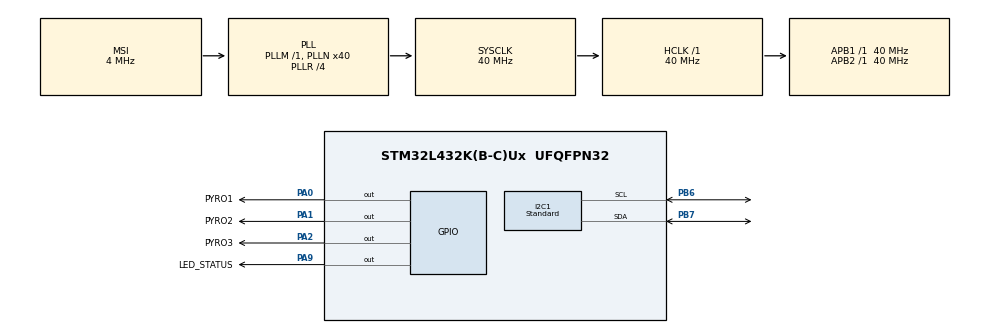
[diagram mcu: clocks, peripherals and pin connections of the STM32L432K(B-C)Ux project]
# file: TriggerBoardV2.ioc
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I2C1.GeneralCallMode=I2C_GENERALCALL_ENABLE
I2C1.I2C_Speed_Mode=I2C_Standard
I2C1.NoStretchMode=I2C_NOSTRETCH_ENABLE
I2C1.OwnAddress=0x0A
I2C1.Timing=0x00D09BE3
Mcu.Family=STM32L4
Mcu.Name=STM32L432K(B-C)Ux
Mcu.Package=UFQFPN32
NVIC.I2C1_ER_IRQn=true\:0\:0\:false\:false\:true\:true\:true\:true
NVIC.I2C1_EV_IRQn=true\:0\:0\:false\:false\:true\:true\:true\:true
NVIC.PriorityGroup=NVIC_PRIORITYGROUP_4
PA0.GPIO_Label=PYRO1
PA0.GPIO_PuPd=GPIO_PULLDOWN
PA0.Signal=GPIO_Output
PA1.GPIO_Label=PYRO2
PA1.GPIO_PuPd=GPIO_PULLDOWN
PA1.Signal=GPIO_Output
PA13\ (JTMS-SWDIO).Mode=Serial_Wire
PA13\ (JTMS-SWDIO).Signal=SYS_JTMS-SWDIO
PA14\ (JTCK-SWCLK).Mode=Serial_Wire
PA14\ (JTCK-SWCLK).Signal=SYS_JTCK-SWCLK
PA2.GPIO_Label=PYRO3
PA2.GPIO_PuPd=GPIO_PULLDOWN
PA2.Signal=GPIO_Output
PA9.GPIO_Label=LED_STATUS
PA9.Signal=GPIO_Output
PB6.GPIO_Pu=GPIO_NOPULL
PB6.Mode=I2C
PB6.Signal=I2C1_SCL
PB7.GPIO_Pu=GPIO_NOPULL
PB7.Mode=I2C
PB7.Signal=I2C1_SDA
ProjectManager.HeapSize=0x200
ProjectManager.StackSize=0x400
ProjectManager.TargetToolchain=STM32CubeIDE
RCC.ADCFreq_Value=48000000
RCC.AHBFreq_Value=40000000
RCC.APB1Freq_Value=40000000
RCC.APB1TimFreq_Value=40000000
RCC.APB2Freq_Value=40000000
RCC.APB2TimFreq_Value=40000000
RCC.CortexFreq_Value=40000000
RCC.HCLKFreq_Value=40000000
RCC.HSE_VALUE=8000000
RCC.HSI48_VALUE=48000000
RCC.HSI_VALUE=16000000
RCC.LSE_VALUE=32768
RCC.MSI_VALUE=4000000
RCC.PLLN=40
RCC.PLLR=RCC_PLLR_DIV4
RCC.PLLSAI1N=24
RCC.SYSCLKFreq_VALUE=40000000
RCC.SYSCLKSource=RCC_SYSCLKSOURCE_PLLCLK
RCC.USBFreq_Value=48000000
RCC.VCOOutputFreq_Value=160000000
board=custom

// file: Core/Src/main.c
/* USER CODE BEGIN Header */
/**
  ******************************************************************************
  * @file           : main.c
  * @brief          : Avionics Trigger Board, project Firehorn, EPFL Rocket Team
  * @author			: Cyprien Lacassagne
  * @version		: 0.1.0
  * @date			: 2025.03.11
  ******************************************************************************
  * @attention
  *
  * Copyright (c) 2025 STMicroelectronics.
  * All rights reserved.
  *
  * This software is licensed under terms that can be found in the LICENSE file
  * in the root directory of this software component.
  * If no LICENSE file comes with this software, it is provided AS-IS.
  *
  ******************************************************************************
  */
/* USER CODE END Header */
#include "main.h"

/* USER CODE BEGIN Includes */
#include "intranet_commands.h"
#include "string.h"
//#include "usbd_cdc_if.h"
//#include "serial_print.h"
/* USER CODE END Includes */

/* USER CODE BEGIN PD */
#define SLEEP_MODE_EN	1
#define PYRO_TESTING_EN	0

#if (VCP_ENABLE)
#define VCP_SERIAL_DB	0
#endif

#define PYRO_ON_MIN_FOR_TRIGGER 250
/* USER CODE END PD */

I2C_HandleTypeDef hi2c1;

/* USER CODE BEGIN PV */
// I2C registers and variables
static uint32_t mem[TRB_NB_REG];
static uint8_t reg_addr = 0x00;
static uint8_t rx_bytes_count = 0;
static uint8_t rx_buffer[NET_XFER_SIZE];
static uint8_t tx_buffer[NET_XFER_SIZE + 1];

static uint8_t woken_up = 0;
static uint8_t triggered = 0;
static uint32_t tx_count = 0;
/* USER CODE END PV */

void SystemClock_Config(void);
static void MX_GPIO_Init(void);
static void MX_I2C1_Init(void);
/* USER CODE BEGIN PFP */
void process_rx_data(void);
/* USER CODE END PFP */

/* USER CODE BEGIN 0 */

// Enter SLEEP mode. SleepOnExit keeps the MCU in SLEEP only to process interrupts (I2C, etc)
// Wake up to RUN mode is done when the command WAKE_UP from Master is received.
void enter_sleep_mode(void) {
	HAL_SuspendTick();
	HAL_PWR_EnableSleepOnExit();
	HAL_PWR_EnterSLEEPMode(PWR_MAINREGULATOR_ON, PWR_SLEEPENTRY_WFI);
}

void HAL_I2C_ListenCpltCallback(I2C_HandleTypeDef* hi2c) {
	rx_bytes_count = 0;
	HAL_I2C_EnableListen_IT(hi2c);
}

// Called when detecting TRB address match on I2C bus
// Will temporarily wake up the CPU during sleep mode
void HAL_I2C_AddrCallback(I2C_HandleTypeDef* hi2c, uint8_t TransferDirection, uint16_t AddrMatchCode) {
	rx_bytes_count = 0;
	if (TransferDirection == I2C_DIRECTION_TRANSMIT) {
#if (VCP_SERIAL_DB)
		serial_println("===New I2C request===");
		serial_print("Register: 0x");
		serial_println_n(reg_addr, 16);
#endif
		HAL_I2C_Slave_Seq_Receive_IT(hi2c, &reg_addr, 1, I2C_FIRST_FRAME);
	}else {
		// Transmit data from requested register
#if (VCP_SERIAL_DB)
		serial_print("Transmitting data: ");
		serial_println_n(mem[reg_addr], 10);
#endif
		// WORKAROUND FOR BUG WHEN TX FAILS IF 1ST DATA BYTE MSB IS SET (VALS BW 128-255, ETC.)
		// Sending a 5th dummy byte first acts as a "damper", solves the problem.
		memcpy(&tx_buffer[1], &mem[reg_addr], NET_XFER_SIZE);
		tx_buffer[0] = 0;
		HAL_I2C_Slave_Seq_Transmit_IT(hi2c, tx_buffer, NET_XFER_SIZE + 1, I2C_LAST_FRAME);
	}
}

void HAL_I2C_SlaveRxCpltCallback(I2C_HandleTypeDef* hi2c) {
	// First time this callback is called is after receiving the register address

	// If received 4 bytes of data, store it in memory and exit callback
	if (rx_bytes_count >= NET_XFER_SIZE) {
		process_rx_data();
		rx_bytes_count = 0;
		return;
	}

	// Prevent writing to read-only registers
	if (reg_addr != TRB_IS_WOKEN_UP && reg_addr != TRB_HAS_TRIGGERED) {
		HAL_I2C_Slave_Seq_Receive_IT(hi2c, (uint8_t*)&rx_buffer, NET_XFER_SIZE, I2C_LAST_FRAME);
		rx_bytes_count = NET_XFER_SIZE;
	}
}

void HAL_I2C_SlaveTxCpltCallback(I2C_HandleTypeDef* hi2c) {
	++tx_count;
}

void HAL_I2C_ErrorCallback(I2C_HandleTypeDef* hi2c) {
	rx_bytes_count = 0;

	uint32_t code = HAL_I2C_GetError(hi2c);

	if (code == HAL_I2C_ERROR_AF) {
		__HAL_I2C_CLEAR_FLAG(hi2c, I2C_FLAG_AF);
	}

	if (code == HAL_I2C_ERROR_BERR) {
		HAL_I2C_DeInit(hi2c);
		HAL_I2C_Init(hi2c);
	}

	HAL_I2C_EnableListen_IT(hi2c);
}

void process_rx_data(void) {
	mem[reg_addr] = 0;
	for (uint8_t i = 0; i < NET_XFER_SIZE; ++i) {
		mem[reg_addr] += rx_buffer[i] << (8*i);
	}

#if (VCP_SERIAL_DB)
	serial_print("Received data: ");
	serial_println_n(mem[reg_addr], 10);
#endif

	// If the received packet is WAKEUP command, disable SleepOnExit to stay in RUN mode
	if (reg_addr == TRB_WAKE_UP && mem[reg_addr] == NET_CMD_ON && !woken_up) {
		HAL_ResumeTick();
		HAL_PWR_DisableSleepOnExit();
		woken_up = 1;
		mem[TRB_IS_WOKEN_UP] = NET_CMD_ON;
#if (VCP_SERIAL_DB)
		serial_println("Received WAKE_UP command. SLEEP mode disabled, entered RUN mode.");
#endif
	}
}

static void blink_led(const uint32_t delta_ms) {
	static uint8_t is_led_on = 0;
	static uint8_t first_pulse = 0;
	static uint32_t led_on_ms = 0;
	static uint32_t led_off_ms = 0;

	is_led_on = HAL_GPIO_ReadPin(LED_STATUS_GPIO_Port, LED_STATUS_Pin) == GPIO_PIN_SET;
	if (is_led_on) {
		led_on_ms += delta_ms;
	}else {
		led_off_ms += delta_ms;
	}

	if (mem[TRB_HAS_TRIGGERED] == NET_CMD_ON) {
		if (led_on_ms > 50) {
			HAL_GPIO_WritePin(LED_STATUS_GPIO_Port, LED_STATUS_Pin, GPIO_PIN_RESET);
			led_on_ms = 0;
		}else if (led_off_ms > (first_pulse ? 50 : 850)) {
			HAL_GPIO_WritePin(LED_STATUS_GPIO_Port, LED_STATUS_Pin, GPIO_PIN_SET);
			led_off_ms = 0;
			first_pulse = !first_pulse;
		}
	}else if (mem[TRB_CLEAR_TO_TRIGGER] == NET_CMD_ON) {
		if (led_on_ms > 50) {
			HAL_GPIO_WritePin(LED_STATUS_GPIO_Port, LED_STATUS_Pin, GPIO_PIN_RESET);
			led_on_ms = 0;
		}else if (led_off_ms > 450) {
			HAL_GPIO_WritePin(LED_STATUS_GPIO_Port, LED_STATUS_Pin, GPIO_PIN_SET);
			led_off_ms = 0;
		}
	}else {
		if (led_on_ms > 50) {
			HAL_GPIO_WritePin(LED_STATUS_GPIO_Port, LED_STATUS_Pin, GPIO_PIN_RESET);
			led_on_ms = 0;
		}else if (led_off_ms > 950) {
			HAL_GPIO_WritePin(LED_STATUS_GPIO_Port, LED_STATUS_Pin, GPIO_PIN_SET);
			led_off_ms = 0;
		}
	}
}

static void listen_pyros(uint32_t delta_ms) {
	static uint32_t pyro1_ms = 0;
	static uint32_t pyro2_ms = 0;
	static uint32_t pyro3_ms = 0;

//	if (triggered) {
//		HAL_GPIO_WritePin(PYRO1_GPIO_Port, PYRO1_Pin, GPIO_PIN_RESET);
//		HAL_GPIO_WritePin(PYRO2_GPIO_Port, PYRO2_Pin, GPIO_PIN_RESET);
//		HAL_GPIO_WritePin(PYRO3_GPIO_Port, PYRO3_Pin, GPIO_PIN_RESET);
//		return;
//	}

	if ((mem[TRB_PYROS] & TRB_PYRO1) == NET_CMD_ON) {
		HAL_GPIO_WritePin(PYRO1_GPIO_Port, PYRO1_Pin, GPIO_PIN_SET);
		pyro1_ms += delta_ms;
	}else {
		HAL_GPIO_WritePin(PYRO1_GPIO_Port, PYRO1_Pin, GPIO_PIN_RESET);
		pyro1_ms = 0;
	}

	if (((mem[TRB_PYROS] & TRB_PYRO2) >> 8) == NET_CMD_ON) {
		HAL_GPIO_WritePin(PYRO2_GPIO_Port, PYRO2_Pin, GPIO_PIN_SET);
		pyro2_ms += delta_ms;
	}else {
		HAL_GPIO_WritePin(PYRO2_GPIO_Port, PYRO2_Pin, GPIO_PIN_RESET);
		pyro2_ms = 0;
	}

	if (((mem[TRB_PYROS] & TRB_PYRO3) >> 16) == NET_CMD_ON) {
		HAL_GPIO_WritePin(PYRO3_GPIO_Port, PYRO3_Pin, GPIO_PIN_SET);
		pyro3_ms += delta_ms;
	}else {
		HAL_GPIO_WritePin(PYRO3_GPIO_Port, PYRO3_Pin, GPIO_PIN_RESET);
		pyro3_ms = 0;
	}

	if (pyro1_ms > PYRO_ON_MIN_FOR_TRIGGER || pyro2_ms > PYRO_ON_MIN_FOR_TRIGGER
			|| pyro3_ms > PYRO_ON_MIN_FOR_TRIGGER) {
		triggered = 1;
		mem[TRB_HAS_TRIGGERED] = NET_CMD_ON;
	}
}

#if (PYRO_TESTING_EN)
typedef enum {
	PYRO1_ONLY,
	PYRO2_ONLY,
	PYRO3_ONLY,
	PYRO12_SIMULTANEOUS,
	PYRO13_SIMULTANEOUS,
	PYRO23_SIMULTANEOUS,
	ALL_SIMULTANEOUS,
	ALL_DELAYED
} pyro_testing_mode_t;

void pyro_test(pyro_testing_mode_t mode, uint32_t elapsed_ms) {
	static uint8_t fired_pyro1 = 0;
	static uint8_t fired_pyro2 = 0;
	static uint8_t fired_pyro3 = 0;
	const uint32_t delay = 20e3;
	// Pyro test, 15s delay after power on

	switch (mode) {
	case PYRO1_ONLY:
//		if (elapsed_ms >= delay && !triggered) {
//			mem[TRB_PYROS] = NET_CMD_ON;
//		}else {
//			mem[TRB_PYROS] = NET_CMD_OFF;
//		}
		break;
	case PYRO2_ONLY:
		if (elapsed_ms >= delay && !triggered) {
			mem[TRB_PYROS] = NET_CMD_ON << 8;
		}else {
			mem[TRB_PYROS] = NET_CMD_OFF << 8;
		}
		break;
	case PYRO3_ONLY:
		if (elapsed_ms >= delay && !triggered) {
			mem[TRB_PYROS] = NET_CMD_ON << 16;
		}else {
			mem[TRB_PYROS] = NET_CMD_OFF << 16;
		}
		break;
	case PYRO12_SIMULTANEOUS:
//		if (elapsed_ms >= delay && !triggered) {
//			mem[TRB_PYROS] = NET_CMD_ON | (NET_CMD_ON << 8);
//		}
//		if (elapsed_ms >= delay + PYRO_ON_MIN_FOR_TRIGGER) {
//			mem[TRB_PYROS] = NET_CMD_OFF | (NET_CMD_OFF << 8);
//		}
		break;
	case PYRO13_SIMULTANEOUS:
//		if (elapsed_ms >= delay && !triggered) {
//			mem[TRB_PYROS] = NET_CMD_ON | (NET_CMD_ON << 16);
//		}
//		if (elapsed_ms >= delay + PYRO_ON_MIN_FOR_TRIGGER) {
//			mem[TRB_PYROS] = NET_CMD_OFF | (NET_CMD_OFF << 16);
//		}
		break;
	case PYRO23_SIMULTANEOUS:
		if (elapsed_ms >= delay && !triggered) {
			mem[TRB_PYROS] = (NET_CMD_ON << 8) | (NET_CMD_ON << 16);
			}
		if (elapsed_ms >= delay + PYRO_ON_MIN_FOR_TRIGGER) {
			mem[TRB_PYROS] = (NET_CMD_OFF << 8) | (NET_CMD_OFF << 16);
		}
		break;
	case ALL_SIMULTANEOUS:
//		if (elapsed_ms >= delay && !triggered) {
//			mem[TRB_PYROS] = NET_CMD_ON | (NET_CMD_ON << 8) | (NET_CMD_ON << 16);
//		}
//		if (elapsed_ms >= delay + PYRO_ON_MIN_FOR_TRIGGER) {
//			mem[TRB_PYROS] = NET_CMD_OFF | (NET_CMD_OFF << 8) | (NET_CMD_OFF << 16);
//		}
		break;
	case ALL_DELAYED:
//		if (now_ms >= delay && !fired_pyro1) {
//			mem[TRB_PYROS] = NET_CMD_ON;
//		}
//		if (elapsed_ms >= delay + PYRO_ON_MIN_FOR_TRIGGER && !fired_pyro2) {
//			mem[TRB_PYROS] = NET_CMD_OFF | (NET_CMD_ON << 8);
//			fired_pyro1 = 1;
//		}
//		if (elapsed_ms >= delay + PYRO_ON_MIN_FOR_TRIGGER * 2 && !fired_pyro3) {
//			mem[TRB_PYROS] = (NET_CMD_OFF << 8) | (NET_CMD_ON << 16);
//			fired_pyro2 = 1;
//		}
//		if (elapsed_ms >= delay + PYRO_ON_MIN_FOR_TRIGGER * 3) {
//			mem[TRB_PYROS] = NET_CMD_OFF | (NET_CMD_OFF << 8) | (NET_CMD_OFF << 16);
//		}
		break;
	}
}
#endif /* PYRO_TESTING_EN */

/* USER CODE END 0 */

int main(void)
{

  /* MCU Configuration--------------------------------------------------------*/

  /* Reset of all peripherals, Initializes the Flash interface and the Systick. */
  HAL_Init();

  /* Configure the system clock */
  SystemClock_Config();

  /* Initialize all configured peripherals */
  MX_GPIO_Init();
  MX_I2C1_Init();
  /* USER CODE BEGIN 2 */
	// Initialize VCP (Virtual COM Port) for serial communication over USB
#if (VCP_ENABLE)
	vcp_init();
#endif

	// Enable I2C address callback and independent processing of R/W
	if (HAL_I2C_EnableListen_IT(&hi2c1) != HAL_OK) {
		Error_Handler();
	}

	// Reset all GPIOs
	HAL_GPIO_WritePin(LED_STATUS_GPIO_Port, LED_STATUS_Pin, GPIO_PIN_RESET);
	HAL_GPIO_WritePin(PYRO1_GPIO_Port, PYRO1_Pin, GPIO_PIN_RESET);
	HAL_GPIO_WritePin(PYRO2_GPIO_Port, PYRO2_Pin, GPIO_PIN_RESET);
	HAL_GPIO_WritePin(PYRO3_GPIO_Port, PYRO3_Pin, GPIO_PIN_RESET);

	// Enter SLEEP mode. SleepOnExit keeps the MCU in SLEEP only to process interrupts (I2C, etc)
	// Wake up to RUN mode is done when the command WAKE_UP from Master is received.
#if (SLEEP_MODE_EN)
	enter_sleep_mode();
#endif
  /* USER CODE END 2 */

  /* Infinite loop */
  /* USER CODE BEGIN WHILE */
#if (VCP_ENABLE)
	char echo_buffer[APP_RX_DATA_SIZE];
#endif
	mem[TRB_IS_WOKEN_UP] = NET_CMD_ON;
	woken_up = 1;
#if (PYRO_TESTING_EN)
	mem[TRB_CLEAR_TO_TRIGGER] = NET_CMD_ON;
#endif
	uint32_t now_ms = HAL_GetTick();
	while (1)
	{
		static uint32_t old_ms = 0;
		static uint32_t delta_ms = 0;

		old_ms = now_ms;
		now_ms = HAL_GetTick();
		delta_ms = now_ms - old_ms;

#if (PYRO_TESTING_EN)
		pyro_test(PYRO23_SIMULTANEOUS, now_ms);
#endif

		if (mem[TRB_CLEAR_TO_TRIGGER] == NET_CMD_ON) {
			listen_pyros(delta_ms);
		}

		blink_led(delta_ms);

		// If the received packet is WAKEUP with value NET_CMD_OFF, (re)-enter SLEEP mode
		if (reg_addr == TRB_WAKE_UP && mem[reg_addr] == NET_CMD_OFF && woken_up) {
			woken_up = 0;
			mem[TRB_IS_WOKEN_UP] = NET_CMD_OFF;
			HAL_I2C_ListenCpltCallback(&hi2c1);
			enter_sleep_mode();
		}

		// Echo data received on VCP back to the host
#if (VCP_ENABLE)
		int len = vcp_recv(echo_buffer, APP_RX_DATA_SIZE);
		if (len > 0) {
			vcp_send(echo_buffer, len);
		}
#endif

		HAL_Delay(10);
    /* USER CODE END WHILE */

	}
}

void SystemClock_Config(void)
{
  RCC_OscInitTypeDef RCC_OscInitStruct = {0};
  RCC_ClkInitTypeDef RCC_ClkInitStruct = {0};

  /** Configure the main internal regulator output voltage
  */
  if (HAL_PWREx_ControlVoltageScaling(PWR_REGULATOR_VOLTAGE_SCALE1) != HAL_OK)
  {
    Error_Handler();
  }

  /** Initializes the RCC Oscillators according to the specified parameters
  * in the RCC_OscInitTypeDef structure.
  */
  RCC_OscInitStruct.OscillatorType = RCC_OSCILLATORTYPE_MSI;
  RCC_OscInitStruct.MSIState = RCC_MSI_ON;
  RCC_OscInitStruct.MSICalibrationValue = 0;
  RCC_OscInitStruct.MSIClockRange = RCC_MSIRANGE_6;
  RCC_OscInitStruct.PLL.PLLState = RCC_PLL_ON;
  RCC_OscInitStruct.PLL.PLLSource = RCC_PLLSOURCE_MSI;
  RCC_OscInitStruct.PLL.PLLM = 1;
  RCC_OscInitStruct.PLL.PLLN = 40;
  RCC_OscInitStruct.PLL.PLLP = RCC_PLLP_DIV7;
  RCC_OscInitStruct.PLL.PLLQ = RCC_PLLQ_DIV2;
  RCC_OscInitStruct.PLL.PLLR = RCC_PLLR_DIV4;
  if (HAL_RCC_OscConfig(&RCC_OscInitStruct) != HAL_OK)
  {
    Error_Handler();
  }

  /** Initializes the CPU, AHB and APB buses clocks
  */
  RCC_ClkInitStruct.ClockType = RCC_CLOCKTYPE_HCLK|RCC_CLOCKTYPE_SYSCLK
                              |RCC_CLOCKTYPE_PCLK1|RCC_CLOCKTYPE_PCLK2;
  RCC_ClkInitStruct.SYSCLKSource = RCC_SYSCLKSOURCE_PLLCLK;
  RCC_ClkInitStruct.AHBCLKDivider = RCC_SYSCLK_DIV1;
  RCC_ClkInitStruct.APB1CLKDivider = RCC_HCLK_DIV1;
  RCC_ClkInitStruct.APB2CLKDivider = RCC_HCLK_DIV1;

  if (HAL_RCC_ClockConfig(&RCC_ClkInitStruct, FLASH_LATENCY_2) != HAL_OK)
  {
    Error_Handler();
  }
}

static void MX_I2C1_Init(void)
{

  hi2c1.Instance = I2C1;
  hi2c1.Init.Timing = 0x00D09BE3;
  hi2c1.Init.OwnAddress1 = 20;
  hi2c1.Init.AddressingMode = I2C_ADDRESSINGMODE_7BIT;
  hi2c1.Init.DualAddressMode = I2C_DUALADDRESS_DISABLE;
  hi2c1.Init.OwnAddress2 = 0;
  hi2c1.Init.OwnAddress2Masks = I2C_OA2_NOMASK;
  hi2c1.Init.GeneralCallMode = I2C_GENERALCALL_ENABLE;
  hi2c1.Init.NoStretchMode = I2C_NOSTRETCH_ENABLE;
  if (HAL_I2C_Init(&hi2c1) != HAL_OK)
  {
    Error_Handler();
  }

  /** Configure Analogue filter
  */
  if (HAL_I2CEx_ConfigAnalogFilter(&hi2c1, I2C_ANALOGFILTER_ENABLE) != HAL_OK)
  {
    Error_Handler();
  }

  /** Configure Digital filter
  */
  if (HAL_I2CEx_ConfigDigitalFilter(&hi2c1, 0) != HAL_OK)
  {
    Error_Handler();
  }

}

static void MX_GPIO_Init(void)
{
  GPIO_InitTypeDef GPIO_InitStruct = {0};

  /* GPIO Ports Clock Enable */
  __HAL_RCC_GPIOA_CLK_ENABLE();
  __HAL_RCC_GPIOB_CLK_ENABLE();

  /*Configure GPIO pin Output Level */
  HAL_GPIO_WritePin(GPIOA, PYRO1_Pin|PYRO2_Pin|PYRO3_Pin|LED_STATUS_Pin, GPIO_PIN_RESET);

  /*Configure GPIO pins : PYRO1_Pin PYRO2_Pin PYRO3_Pin */
  GPIO_InitStruct.Pin = PYRO1_Pin|PYRO2_Pin|PYRO3_Pin;
  GPIO_InitStruct.Mode = GPIO_MODE_OUTPUT_PP;
  GPIO_InitStruct.Pull = GPIO_PULLDOWN;
  GPIO_InitStruct.Speed = GPIO_SPEED_FREQ_LOW;
  HAL_GPIO_Init(GPIOA, &GPIO_InitStruct);

  /*Configure GPIO pin : LED_STATUS_Pin */
  GPIO_InitStruct.Pin = LED_STATUS_Pin;
  GPIO_InitStruct.Mode = GPIO_MODE_OUTPUT_PP;
  GPIO_InitStruct.Pull = GPIO_NOPULL;
  GPIO_InitStruct.Speed = GPIO_SPEED_FREQ_LOW;
  HAL_GPIO_Init(LED_STATUS_GPIO_Port, &GPIO_InitStruct);

}

void Error_Handler(void)
{
  /* USER CODE BEGIN Error_Handler_Debug */
  /* User can add his own implementation to report the HAL error return state */
  __disable_irq();
  while (1)
  {
	  HAL_GPIO_TogglePin(PYRO3_GPIO_Port, PYRO3_Pin);
	  HAL_Delay(100);
  }
  /* USER CODE END Error_Handler_Debug */
}
